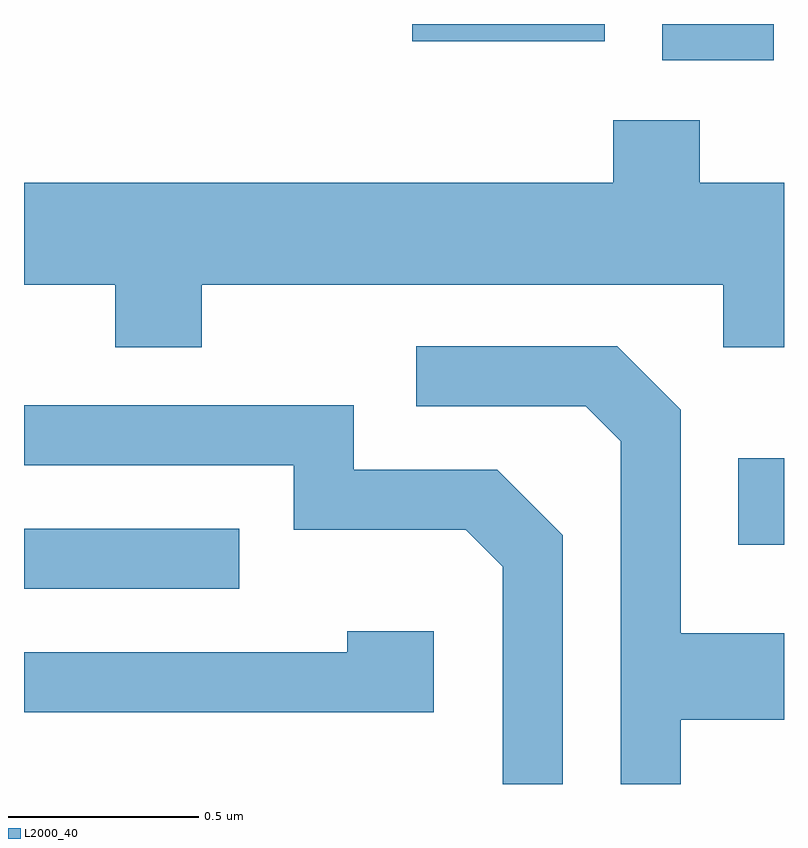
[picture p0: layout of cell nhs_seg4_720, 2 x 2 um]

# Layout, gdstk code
import gdstk
lib = gdstk.Library(unit=1e-6, precision=1e-09)
def R(c, l, rs):  # rectangles x0, y0, x1, y1
    for r in rs: c.add(gdstk.rectangle(r[:2], r[2:], *l))
def P(c, l, *ps):  # polygons
    for p in ps: c.add(gdstk.Polygon(p, *l))
L2000_40 = (2000, 40)

nhs_seg4_720 = lib.new_cell('nhs_seg4_720')
R(nhs_seg4_720, L2000_40, [(190.611,1289.496,191.178,1289.654), (192.491,1289.611,192.611,1289.839), (192.291,1290.886,192.584,1290.982), (191.633,1290.936,192.139,1290.982)])
P(nhs_seg4_720, L2000_40, [(191.079,1290.296),(192.451,1290.296),(192.451,1290.131),(192.611,1290.131),(192.611,1290.564),(192.389,1290.564),(192.389,1290.729),(192.161,1290.729),(192.161,1290.564),(190.611,1290.564),(190.611,1290.296),(190.851,1290.296),(190.851,1290.131),(191.079,1290.131)],
  [(192.339,1289.151),(192.611,1289.151),(192.611,1289.379),(192.339,1289.379),(192.339,1289.967),(192.172,1290.134),(191.643,1290.134),(191.643,1289.976),(192.089,1289.976),(192.181,1289.884),(192.181,1288.982),(192.339,1288.982)],
  [(192.029,1289.637),(191.857,1289.809),(191.479,1289.809),(191.479,1289.979),(190.611,1289.979),(190.611,1289.821),(191.321,1289.821),(191.321,1289.651),(191.774,1289.651),(191.871,1289.554),(191.871,1288.982),(192.029,1288.982)],
  [(191.689,1289.384),(191.461,1289.384),(191.461,1289.329),(190.611,1289.329),(190.611,1289.171),(191.689,1289.171)])

lib.write_gds('nhs_seg4_720.gds')
